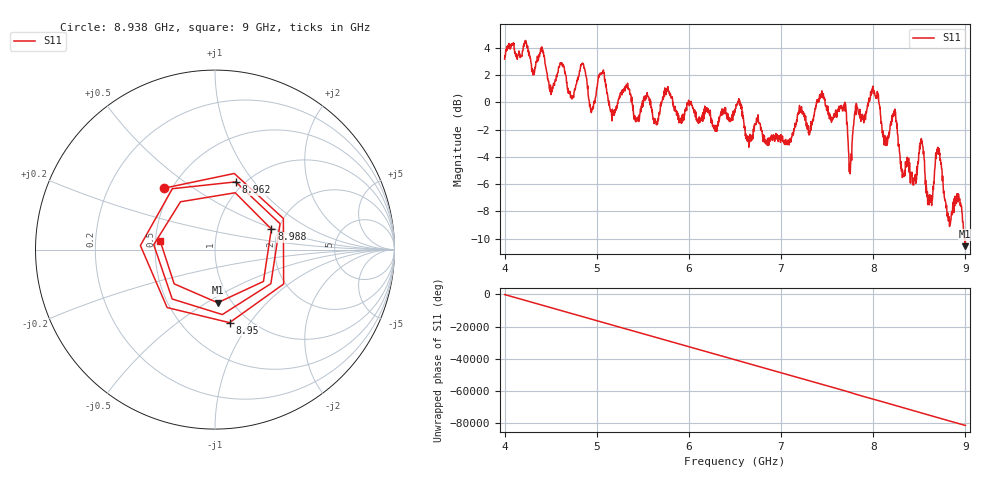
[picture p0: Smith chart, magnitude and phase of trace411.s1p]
! Created with skrf 1.8.0 (http://scikit-rf.org).
# Hz S RI R 50.0
!freq ReS11 ImS11
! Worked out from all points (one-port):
!   1601 points, 4 GHz to 9 GHz, reference 50 ohm
!   lowest |S11| = -10.6 dB at 8.994 GHz (marker M1), VSWR 1.84, Z = 43.1 - j28 ohm
!   |S11| at or under -10 dB: 8.991743 GHz to end of sweep
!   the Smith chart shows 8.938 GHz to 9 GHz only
!   S11 on the Smith chart (normalised r, x): 8.938 GHz: 0.46, +0.39; 8.95 GHz: 0.82, -0.81; 8.962 GHz: 0.91, +0.82; 8.988 GHz: 1.84, +0.47; 9 GHz: 0.53, +0.05
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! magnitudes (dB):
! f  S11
! 4 GHz  3.2
! 4.509 GHz  0.8
! 4.625 GHz  2.8
! 4.728 GHz  0.3
! 4.85 GHz  2.9
! 4.941 GHz  -0.7
! 5.05 GHz  2.1
! 5.166 GHz  -1.4
! 5.25 GHz  0.4
! 5.875 GHz  -0.9
! 6.5 GHz  -0.5
! 7.125 GHz  -2.3
! 7.441 GHz  0.8
! 7.684 GHz  -0.1
! 7.75 GHz  -5.2
! 7.812 GHz  -0.9
! 7.997 GHz  1.2
! 8.375 GHz  -4.4
! 8.525 GHz  -2.8
! 8.616 GHz  -6.8
! 8.703 GHz  -3.6
! 8.819 GHz  -8.4
! 8.938 GHz  -7.1
! 8.95 GHz  -7.6
! 8.962 GHz  -8.1
! 8.988 GHz  -9.5
! 8.994 GHz  -10.6
! 9 GHz  -10.2
